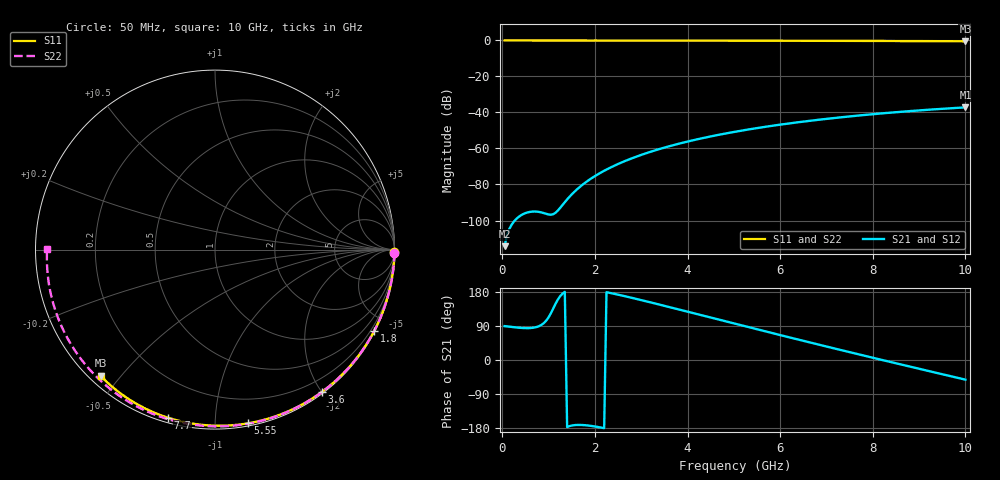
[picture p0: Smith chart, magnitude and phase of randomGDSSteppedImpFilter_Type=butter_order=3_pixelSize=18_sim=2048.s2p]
! freq	dB(S11)	phase(S11)	dB(S12)	phase(S12)
!  dB(S21)	phase(S21)	dB(S22)	phase(S22)
!S-par simulation data
#  GHz  S  DB  R 50
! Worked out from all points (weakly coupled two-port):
!   200 points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, 50 MHz to 10 GHz, reference 50 ohm
!   highest |S21| = -37.18 dB at 10 GHz (marker M1); lowest = -114.3 dB at 50 MHz (marker M2)
!   lowest |S11| = -0.5 dB at 10 GHz (marker M3), VSWR 38.43, Z = 1.56 - j22.1 ohm
!   |S11| at or under -10 dB: nowhere
!   |S22| runs from -0.6 to 0.0 dB; largest |S21 - S12| = 0
!   S11 on the Smith chart (normalised r, x): 50 MHz: open; 1.8 GHz: 0.04, -4.14; 3.6 GHz: 0.02, -2.00; 5.55 GHz: 0.02, -1.21; 7.7 GHz: 0.02, -0.76; 10 GHz: 0.03, -0.44
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0.05  -0.00 -0.8  -114.26 89.4  -114.26 89.4  -0.00 -1.1
0.45  -0.01 -6.9  -96.46 84.3  -96.46 84.3  -0.01 -9.4
0.85  -0.02 -12.9  -95.55 93.0  -95.55 93.0  -0.02 -17.7
1.3  -0.02 -19.7  -91.37 175.0  -91.37 175.0  -0.03 -26.9
1.7  -0.03 -25.7  -80.79 -171.4  -80.79 -171.4  -0.04 -35.0
1.75  -0.03 -26.4  -79.77 -171.7  -79.77 -171.7  -0.05 -36.0
1.8  -0.03 -27.1  -78.81 -172.2  -78.81 -172.2  -0.05 -37.0
2.1  -0.04 -31.6  -73.80 -177.5  -73.80 -177.5  -0.05 -43.0
2.3  -0.04 -34.5  -71.05 177.7  -71.05 177.7  -0.06 -46.9
2.5  -0.05 -37.4  -68.62 172.4  -68.62 172.4  -0.07 -50.9
2.9  -0.06 -43.2  -64.48 161.0  -64.48 161.0  -0.08 -58.6
3.4  -0.07 -50.3  -60.26 146.0  -60.26 146.0  -0.09 -68.0
3.6  -0.07 -53.1  -58.79 139.9  -58.79 139.9  -0.10 -71.7
4.3  -0.09 -62.7  -54.39 118.2  -54.39 118.2  -0.12 -84.4
5.05  -0.11 -72.7  -50.60 95.0  -50.60 95.0  -0.15 -97.6
5.55  -0.13 -79.2  -48.47 79.6  -48.47 79.6  -0.17 -106.1
6.1  -0.15 -86.2  -46.41 62.7  -46.41 62.7  -0.20 -115.4
6.7  -0.18 -93.7  -44.44 44.6  -44.44 44.6  -0.24 -125.3
7.7  -0.24 -105.7  -41.68 14.8  -41.68 14.8  -0.32 -141.6
8.35  -0.29 -113.3  -40.17 -4.3  -40.17 -4.3  -0.38 -152.2
9.2  -0.37 -123.1  -38.48 -28.9  -38.48 -28.9  -0.48 -166.3
10  -0.45 -132.2  -37.18 -51.8  -37.18 -51.8  -0.58 179.8
